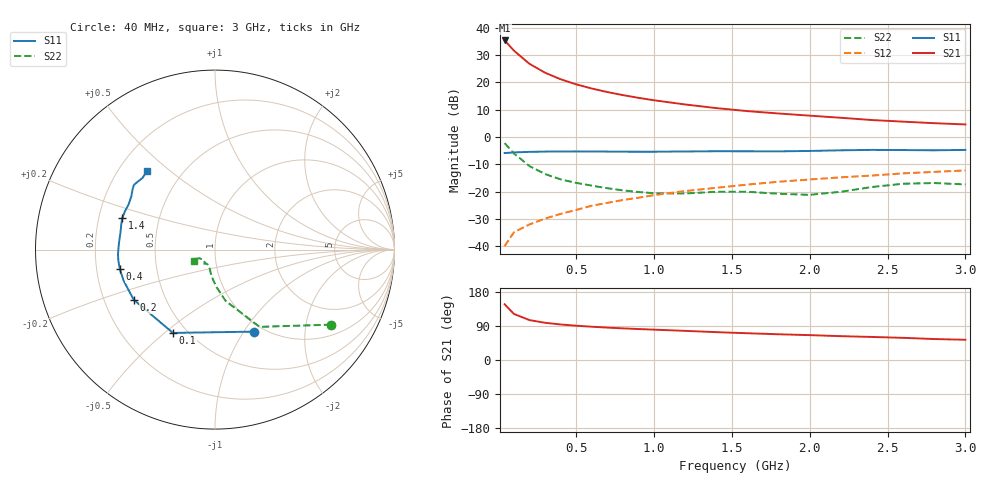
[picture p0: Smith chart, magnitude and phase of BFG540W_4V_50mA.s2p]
! Filename:  BFG540WF.S2P  Version:  4.0
! Philips part #: BFG540  Date: Jun 1994
! Bias condition: Vce=4.0V, Ic=50.0mA
! IN LINE PINNING: same data as with cross emitter pinning.
#  MHz  S  MA  R  50
! Freq  S11  S21  S12  S22  !GUM [dB]
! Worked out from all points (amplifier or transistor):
!   21 points, 40 MHz to 3 GHz, reference 50 ohm
!   highest |S21| = 35.3 dB at 40 MHz (marker M1)
!   |S21| within 3 dB of that: start of sweep to 88.16 MHz
!   unconditionally stable (mu >= 1): 486.2 MHz to end of sweep
!   at 300 MHz: K = 0.88, MSG = 26.7 dB, |S12| = -29.9 dB
!   at 1 GHz: K = 1.09, MAG = 15.5 dB, |S12| = -21.3 dB
!   at 3 GHz: K = 1.06, MAG = 6.9 dB, |S12| = -12.3 dB
!   S11 on the Smith chart (normalised r, x): 40 MHz: 0.91, -1.11; 100 MHz: 0.42, -0.53; 200 MHz: 0.33, -0.26; 400 MHz: 0.30, -0.09; 1.4 GHz: 0.30, +0.15; 3 GHz: 0.32, +0.42
40  0.506 -64.6  58.16 147.1  0.01 67.2  0.77 -32.9
100  0.52 -116.8  37.83 121.5  0.018 56.5  0.497 -60.0
200  0.532 -148.3  21.69 105.3  0.025 58.4  0.292 -78.3
300  0.538 -161.3  14.92 98.2  0.032 62.3  0.209 -87.7
400  0.541 -168.5  11.34 93.7  0.039 66.1  0.167 -93.9
500  0.542 -173.6  9.147 90.5  0.046 68.5  0.144 -98.3
600  0.541 -177.5  7.677 87.8  0.055 70.6  0.128 -101.4
700  0.538 179.1  6.612 85.5  0.062 71.9  0.115 -104.1
800  0.536 175.9  5.812 83.5  0.07 72.6  0.105 -106.9
900  0.535 172.8  5.181 81.7  0.077 73.5  0.098 -110.8
1000  0.535 169.8  4.676 80.1  0.086 73.9  0.093 -115.3
1200  0.541 164.8  3.918 76.9  0.102 74.2  0.092 -123.4
1400  0.546 160.9  3.364 73.5  0.117 74.0  0.099 -126.6
1600  0.545 157.0  2.961 70.6  0.134 74.2  0.099 -126.8
1800  0.543 152.4  2.679 67.9  0.151 73.1  0.091 -129.0
2000  0.553 147.4  2.446 65.6  0.166 72.6  0.087 -139.1
2200  0.568 144.0  2.237 62.9  0.182 71.6  0.099 -150.8
2400  0.578 141.5  2.033 60.8  0.196 71.5  0.121 -154.7
2600  0.574 139.2  1.901 58.5  0.215 70.6  0.139 -151.7
2800  0.568 135.4  1.781 55.3  0.229 68.7  0.143 -148.1
3000  0.578 130.7  1.69 53.4  0.243 68.1  0.135 -150.6
